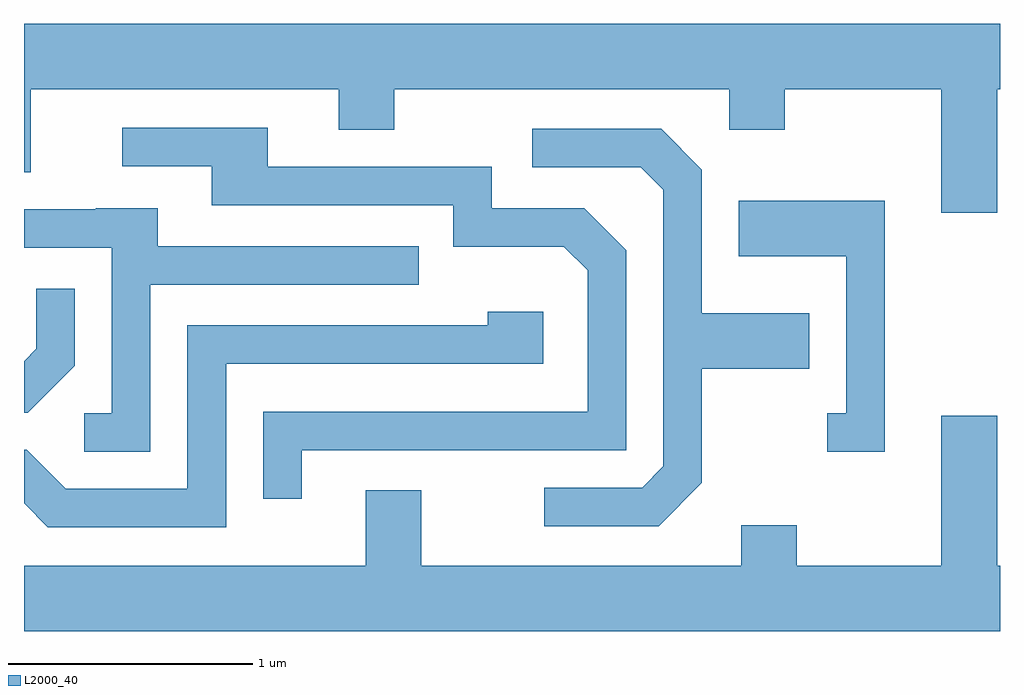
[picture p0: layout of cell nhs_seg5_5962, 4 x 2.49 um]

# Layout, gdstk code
import gdstk
lib = gdstk.Library(unit=1e-6, precision=1e-09)
def P(c, l, *ps):  # polygons
    for p in ps: c.add(gdstk.Polygon(p, *l))
L2000_40 = (2000, 40)

nhs_seg5_5962 = lib.new_cell('nhs_seg5_5962')
P(nhs_seg5_5962, L2000_40, [(365.599,1476.776),(365.611,1476.776),(365.611,1477.044),(361.611,1477.044),(361.611,1476.436),(361.639,1476.436),(361.639,1476.776),(362.901,1476.776),(362.901,1476.611),(363.129,1476.611),(363.129,1476.776),(364.501,1476.776),(364.501,1476.611),(364.729,1476.611),(364.729,1476.776),(365.371,1476.776),(365.371,1476.271),(365.599,1476.271)],
  [(362.749,1475.296),(364.079,1475.296),(364.079,1476.117),(363.907,1476.289),(363.529,1476.289),(363.529,1476.459),(362.609,1476.459),(362.609,1476.619),(362.013,1476.619),(362.013,1476.461),(362.381,1476.461),(362.381,1476.301),(363.371,1476.301),(363.371,1476.131),(363.824,1476.131),(363.921,1476.034),(363.921,1475.454),(362.591,1475.454),(362.591,1475.098),(362.749,1475.098)],
  [(364.389,1475.164),(364.389,1475.631),(364.829,1475.631),(364.829,1475.859),(364.389,1475.859),(364.389,1476.447),(364.222,1476.614),(363.693,1476.614),(363.693,1476.456),(364.139,1476.456),(364.231,1476.364),(364.231,1475.232),(364.144,1475.144),(363.743,1475.144),(363.743,1474.986),(364.212,1474.986)],
  [(365.139,1476.319),(364.541,1476.319),(364.541,1476.091),(364.981,1476.091),(364.981,1475.449),(364.903,1475.449),(364.903,1475.291),(365.139,1475.291)],
  [(362.129,1475.976),(363.228,1475.976),(363.228,1476.134),(362.159,1476.134),(362.159,1476.289),(361.905,1476.289),(361.905,1476.284),(361.611,1476.284),(361.611,1476.126),(361.971,1476.126),(361.971,1475.449),(361.858,1475.449),(361.858,1475.291),(362.129,1475.291)],
  [(361.819,1475.644),(361.819,1475.958),(361.661,1475.958),(361.661,1475.712),(361.611,1475.662),(361.611,1475.451),(361.627,1475.451)],
  [(362.439,1475.651),(363.739,1475.651),(363.739,1475.864),(363.511,1475.864),(363.511,1475.809),(362.281,1475.809),(362.281,1475.139),(361.782,1475.139),(361.622,1475.299),(361.611,1475.299),(361.611,1475.079),(361.709,1474.981),(362.439,1474.981)],
  [(365.611,1474.824),(365.599,1474.824),(365.599,1475.439),(365.371,1475.439),(365.371,1474.824),(364.779,1474.824),(364.779,1474.989),(364.551,1474.989),(364.551,1474.824),(363.239,1474.824),(363.239,1475.134),(363.011,1475.134),(363.011,1474.824),(361.611,1474.824),(361.611,1474.556),(365.611,1474.556)])

lib.write_gds('nhs_seg5_5962.gds')
